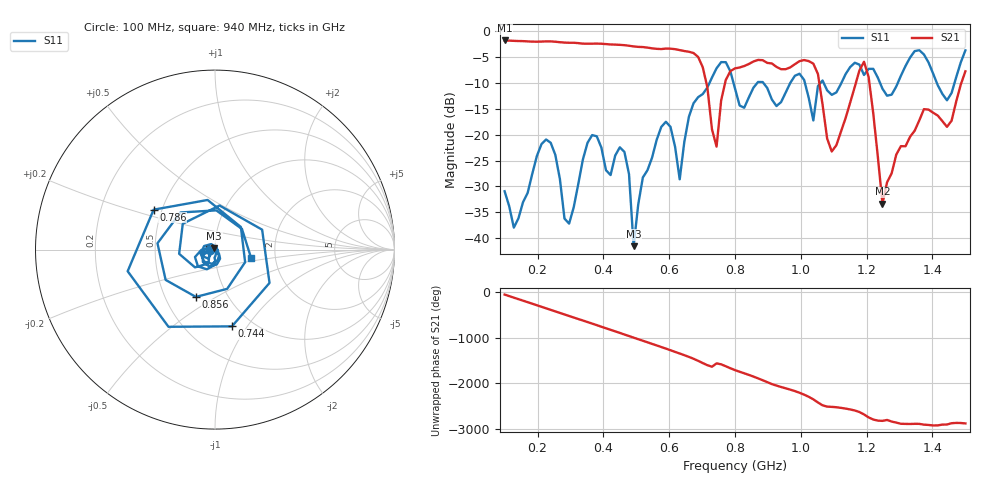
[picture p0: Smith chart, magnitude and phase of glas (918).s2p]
! NanoVNA-App
! Date: 2025-09-25 16:02:37
! Start: 100MHz Stop: 1,5GHz Points: 101
! S-Parameter data: F S11 S21 S12 S22
# Hz S RI R 50
!  Frequency  S11_Real  S11_Imag  S21_Real  S21_Imag  S12_Real  S12_Imag  S22_Real  S22_Imag
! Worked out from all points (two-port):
!   101 points, 100 MHz to 1.5 GHz, reference 50 ohm
!   highest |S21| = -1.80 dB at 100 MHz (marker M1); lowest = -33.3 dB at 1.248 GHz (marker M2)
!   |S21| within 3 dB of the highest: start of sweep to 684.6 MHz
!   lowest |S11| = -41.5 dB at 492 MHz (marker M3), VSWR 1.02, Z = 49.5 + j0.648 ohm
!   |S11| at or under -10 dB: start of sweep to 722.5 MHz; 795.4 MHz to 867.7 MHz (72.3 MHz wide, 8.69 % of centre); 886.1 MHz to 968 MHz (81.89 MHz wide, 8.83 % of centre) (the widest 3 of 7)
!   S12 and S22 are empty: the file has one direction only
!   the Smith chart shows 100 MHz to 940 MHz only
!   S11 on the Smith chart (normalised r, x): 100 MHz: 0.94, -0.01; 744 MHz: 0.81, -0.85; 786 MHz: 0.45, +0.24; 856 MHz: 0.71, -0.41; 940 MHz: 1.49, -0.15
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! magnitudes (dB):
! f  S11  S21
! 100 MHz  -30.9  -1.8
! 128 MHz  -37.9  -1.9
! 226 MHz  -20.9  -2.0
! 296 MHz  -37.2  -2.2
! 338 MHz  -24.7  -2.4
! 464 MHz  -23.3  -2.7
! 492 MHz  -41.5  -3.0
! 576 MHz  -18.5  -3.5
! 632 MHz  -28.6  -3.7
! 702 MHz  -12.1  -7.0
! 744 MHz  -7.2  -22.3
! 786 MHz  -7.8  -7.7
! 800 MHz  -11.1  -7.2
! 856 MHz  -10.9  -5.9
! 940 MHz  -13.7  -7.4
! 1.038 GHz  -17.3  -6.3
! 1.094 GHz  -12.3  -23.2
! 1.192 GHz  -8.5  -5.9
! 1.248 GHz  -11.1  -33.3
! 1.276 GHz  -12.3  -27.4
! 1.444 GHz  -13.4  -18.5
! 1.5 GHz  -3.7  -7.8
